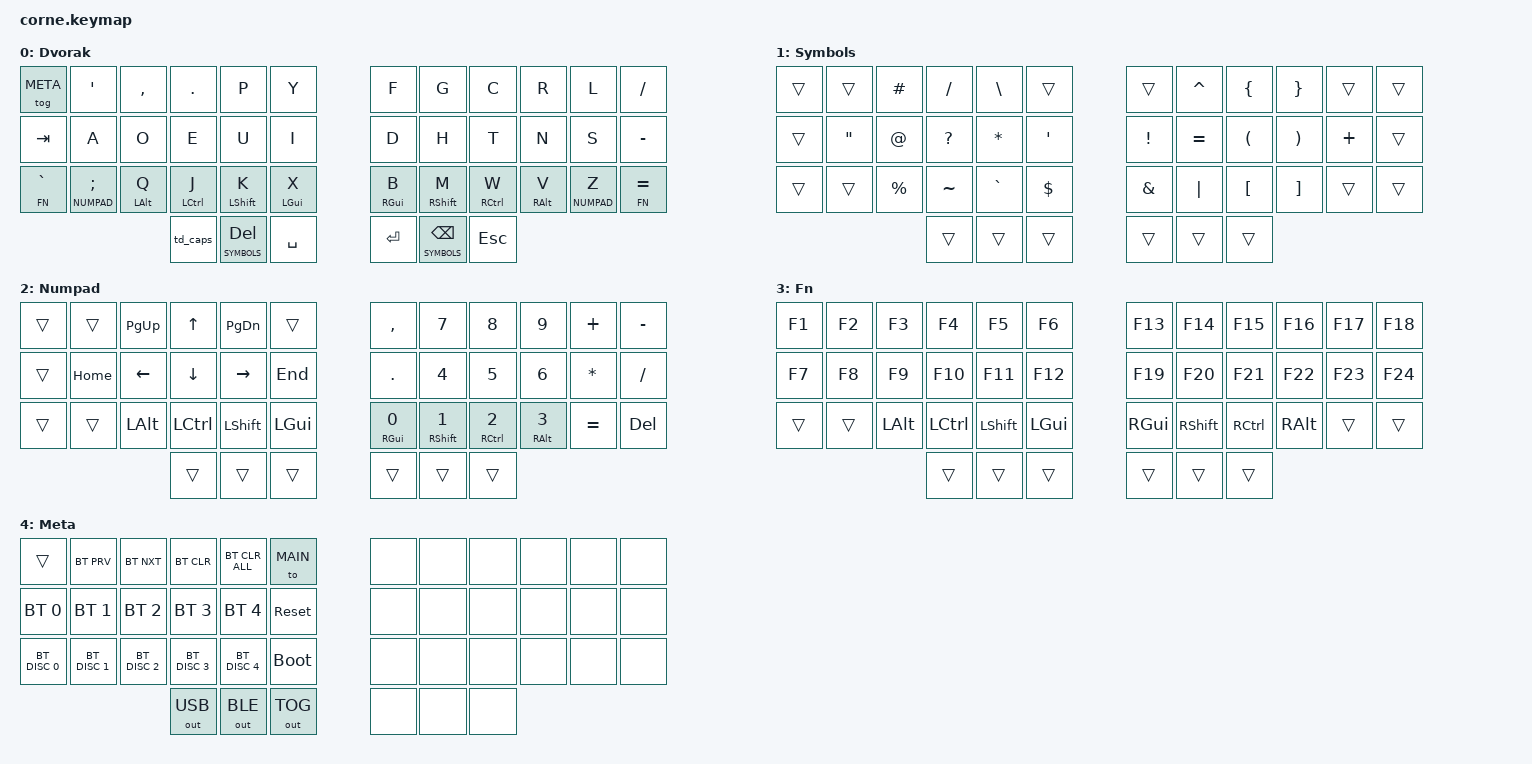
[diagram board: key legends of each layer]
/*
 * Copyright (c) 2020 The ZMK Contributors
 *
 * SPDX-License-Identifier: MIT
 */

#include <behaviors.dtsi>
#include <dt-bindings/zmk/bt.h>
#include <dt-bindings/zmk/keys.h>
#include <dt-bindings/zmk/outputs.h>

#define MAIN    0
#define SYMBOLS 1
#define NUMPAD  2
#define FN      3
#define META    4

#define LEFT_KEYS 0 1 2 3 4 5  12 13 14 15 16 17  24 25 26 27 28 29  36 37 38
#define RIGHT_KEYS 6 7 8 9 10 11  18 19 20 21 22 23  30 31 32 33 34 35  39 40 41

/ {
  behaviors {
    hmtl: home_row_mod_tap_left {
      compatible = "zmk,behavior-hold-tap";
      #binding-cells = <2>;
      flavor = "balanced";
      require-prior-idle-ms = <140>;
      tapping-term-ms = <140>;
      quick-tap-ms = <175>;
      bindings = <&kp>, <&kp>;
      hold-trigger-key-positions = <RIGHT_KEYS>;
      hold-trigger-on-release;
    };
    hmtr: home_row_mod_tap_right {
      compatible = "zmk,behavior-hold-tap";
      #binding-cells = <2>;
      flavor = "balanced";
      require-prior-idle-ms = <140>;
      tapping-term-ms = <140>;
      quick-tap-ms = <175>;
      bindings = <&kp>, <&kp>;
      hold-trigger-key-positions = <LEFT_KEYS>;
      hold-trigger-on-release;
    };
    hltl: home_row_layer_tap_left {
      compatible = "zmk,behavior-hold-tap";
      #binding-cells = <2>;
      flavor = "balanced";
      require-prior-idle-ms = <140>;
      tapping-term-ms = <140>;
      quick-tap-ms = <175>;
      bindings = <&mo>, <&kp>;
      hold-trigger-key-positions = <RIGHT_KEYS>;
      hold-trigger-on-release;
    };
    hltr: home_row_layer_tap_right {
      compatible = "zmk,behavior-hold-tap";
      #binding-cells = <2>;
      flavor = "balanced";
      require-prior-idle-ms = <140>;
      tapping-term-ms = <280>;
      quick-tap-ms = <175>;
      bindings = <&mo>, <&kp>;
      hold-trigger-key-positions = <LEFT_KEYS>;
      hold-trigger-on-release;
    };
    td_caps: tap_dance_caps {
      compatible = "zmk,behavior-tap-dance";
      #binding-cells = <0>;
      tapping-term-ms = <240>;
      bindings = <&caps_word>, <&kp CAPS>;
    };
  };

  keymap {
    compatible = "zmk,keymap";

    main_layer {
      display-name = "Dvorak";
      bindings = <
        &tog META      &kp SQT           &kp COMMA    &kp DOT       &kp P             &kp Y             &kp F        &kp G              &kp C         &kp R        &kp L          &kp FSLH
        &kp TAB        &kp A             &kp O        &kp E         &kp U             &kp I             &kp D        &kp H              &kp T         &kp N        &kp S          &kp MINUS
        &hltl FN GRAVE &hltl NUMPAD SEMI &hmtl LALT Q &hmtl LCTRL J &hmtl LSHIFT K    &hmtl LGUI X      &hmtr RGUI B &hmtr RSHIFT M     &hmtr RCTRL W &hmtl RALT V &hltr NUMPAD Z &hltr FN EQUAL
                                                      &td_caps      &hltl SYMBOLS DEL &kp SPACE         &kp RET      &hltr SYMBOLS BSPC &kp ESC
      >;
    };
    symbols_layer {
      display-name = "Symbols";
      bindings = <
        &trans &trans  &kp HASH  &kp FSLH  &kp BSLH  &trans       &trans   &kp CARET &kp LBRC &kp RBRC &trans   &trans
        &trans &kp DQT &kp AT    &kp QMARK &kp STAR  &kp SQT      &kp EXCL &kp EQUAL &kp LPAR &kp RPAR &kp PLUS &trans
        &trans &trans  &kp PRCNT &kp TILDE &kp GRAVE &kp DLLR     &kp AMPS &kp PIPE  &kp LBKT &kp RBKT &trans   &trans
                                 &trans    &trans    &trans       &trans   &trans    &trans
      >;
    };
    numpad_layer {
      display-name = "Numpad";
      bindings = <
        &trans &trans   &kp PG_UP &kp UP    &kp PG_DN  &trans       &kp COMMA     &kp N7          &kp N8         &kp N9        &kp PLUS  &kp MINUS
        &trans &kp HOME &kp LEFT  &kp DOWN  &kp RIGHT  &kp END      &kp DOT       &kp N4          &kp N5         &kp N6        &kp STAR  &kp FSLH
        &trans &trans   &kp LALT  &kp LCTRL &kp LSHIFT &kp LGUI     &hmtr RGUI N0 &hmtr RSHIFT N1 &hmtr RCTRL N2 &hmtr RALT N3 &kp EQUAL &kp DEL
                                  &trans    &trans     &trans       &trans        &trans          &trans
      >;
    };
    fn_layer {
      display-name = "Fn";
      bindings = <
        &kp F1 &kp F2 &kp F3   &kp F4    &kp F5     &kp F6        &kp F13  &kp F14    &kp F15   &kp F16  &kp F17 &kp F18
        &kp F7 &kp F8 &kp F9   &kp F10   &kp F11    &kp F12       &kp F19  &kp F20    &kp F21   &kp F22  &kp F23 &kp F24
        &trans &trans &kp LALT &kp LCTRL &kp LSHIFT &kp LGUI      &kp RGUI &kp RSHIFT &kp RCTRL &kp RALT &trans  &trans
                               &trans    &trans     &trans        &trans   &trans     &trans
      >;
    };
    meta_layer {
      display-name = "Meta";
      bindings = <
        &trans        &bt BT_PRV    &bt BT_NXT    &bt BT_CLR    &bt BT_CLR_ALL &to MAIN       &none &none &none &none &none &none
        &bt BT_SEL 0  &bt BT_SEL 1  &bt BT_SEL 2  &bt BT_SEL 3  &bt BT_SEL 4   &sys_reset     &none &none &none &none &none &none
        &bt BT_DISC 0 &bt BT_DISC 1 &bt BT_DISC 2 &bt BT_DISC 3 &bt BT_DISC 4  &bootloader    &none &none &none &none &none &none
                                                  &out OUT_USB  &out OUT_BLE   &out OUT_TOG   &none &none &none
      >;
    };
  };
};
